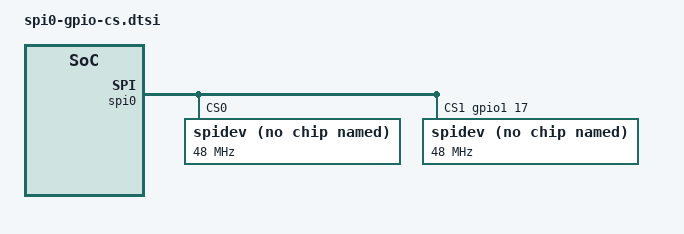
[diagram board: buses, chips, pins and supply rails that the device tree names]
#include "bone/black.h"

// disable conflicting cape-universal nodes

USES_PIN( P9_17 );  // cs 0
USES_PIN( P9_18 );  // data out
USES_PIN( P9_21 );  // data in
USES_PIN( P9_22 );  // clk
USES_PIN( P9_23 );  // cs 1

USES_SPI( 0, 0 );
USES_SPI( 0, 1 );

// setup pinmux and enable controller

&spi0 {
	status = "okay";

	pinctrl-names = "default";
	pinctrl-0 = <&spi0_pins>;

	cs-gpios = <0>, <&gpio1 17 0>;  // <0> = use hardware chip select
};

&am33xx_pinmux {
	spi0_pins: spi0 {
		pinctrl-single,pins = <
			PIN_PULLUP( P9_22, 0 )  // clk
			PIN_PULLUP( P9_21, 0 )  // data in
			PIN_PULLUP( P9_18, 0 )  // data out
			PIN_PULLUP( P9_17, 0 )  // cs 0
			PIN_PULLUP( P9_23, 7 )  // cs 1 (gpio 1.17)
		>;
	};
};

// declare connected devices (example)

&spi0 {
	// NOTE: consider giving the nodes descriptive names like flash@0

	spidev@0 {
		reg = <0>;
		compatible = "spidev";

		// create symlink (using /etc/udev/rules.d/10-of-symlink.rules)
		// NOTE: again, consider using something more descriptive
		symlink = "spi/0.0";  // create /dev/spi/0.0 symlink

		// XXX replace by actual max frequency supported by device
		spi-max-frequency = <48000000>;

		// XXX this selects SPI mode 3 by default, adjust as appropriate
		spi-cpol;
		spi-cpha;
	};

	spidev@1 {
		reg = <1>;
		compatible = "spidev";

		// create symlink (using /etc/udev/rules.d/10-of-symlink.rules)
		// NOTE: again, consider using something more descriptive
		symlink = "spi/0.1";  // create /dev/spi/0.1 symlink

		// XXX replace by actual max frequency supported by device
		spi-max-frequency = <48000000>;

		// XXX this selects SPI mode 3 by default, adjust as appropriate
		spi-cpol;
		spi-cpha;
	};
};
